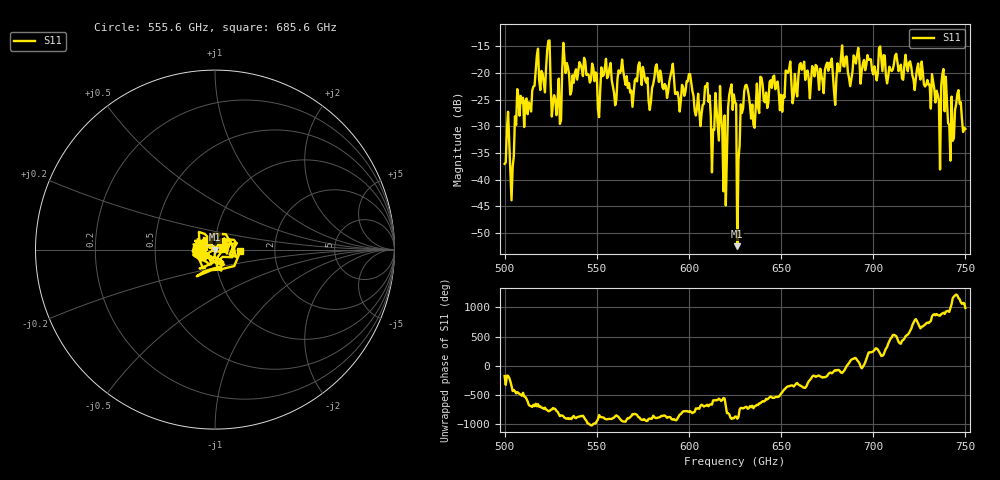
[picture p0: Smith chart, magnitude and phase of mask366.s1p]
!Created with skrf (http://scikit-rf.org).
# GHz S MA R 50.0
!freq magS11 angS11
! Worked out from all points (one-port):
!   401 points, 500 GHz to 750 GHz, reference 50 ohm
!   lowest |S11| = -52.4 dB at 626.2 GHz (marker M1), VSWR 1.00, Z = 49.8 + j0.0376 ohm
!   |S11| at or under -10 dB: start of sweep to end of sweep
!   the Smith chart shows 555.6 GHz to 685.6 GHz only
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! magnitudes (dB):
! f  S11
! 500 GHz  -37.0
! 503.8 GHz  -43.8
! 506.9 GHz  -23.0
! 513.8 GHz  -26.1
! 516.9 GHz  -19.6
! 523.8 GHz  -14.0
! 526.9 GHz  -24.2
! 531.2 GHz  -19.4
! 559.4 GHz  -23.8
! 562.5 GHz  -20.1
! 593.8 GHz  -23.6
! 610 GHz  -21.9
! 612.5 GHz  -38.6
! 618.1 GHz  -30.8
! 619.4 GHz  -28.0
! 623.1 GHz  -22.2
! 625 GHz  -25.5
! 626.2 GHz  -52.4
! 631.2 GHz  -22.3
! 635 GHz  -29.7
! 656.2 GHz  -25.7
! 687.5 GHz  -22.5
! 718.8 GHz  -19.7
! 735 GHz  -24.1
! 738.1 GHz  -19.3
! 742.5 GHz  -24.5
! 746.2 GHz  -23.2
! 750 GHz  -30.5
